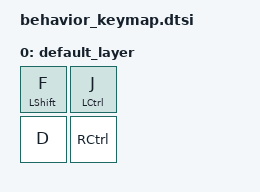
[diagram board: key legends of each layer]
#include <dt-bindings/zmk/keys.h>
#include <behaviors.dtsi>
#include <dt-bindings/zmk/kscan_mock.h>



/ {
	behaviors {
		ht_tui: behavior_hold_tap_tap_unless_interrupted {
			compatible = "zmk,behavior-hold-tap";
			label = "hold_tap_tap_unless_interrupted";
			#binding-cells = <2>;
			flavor = "tap-unless-interrupted";
			tapping-term-ms = <300>;
			quick-tap-ms = <200>;
			bindings = <&kp>, <&kp>;
		};
	};

	keymap {
		compatible = "zmk,keymap";
		label ="Default keymap";

		default_layer {
			bindings = <
				&ht_tui LEFT_SHIFT F      &ht_tui LEFT_CONTROL J
				&kp D      &kp RIGHT_CONTROL>;
		};
	};
};
